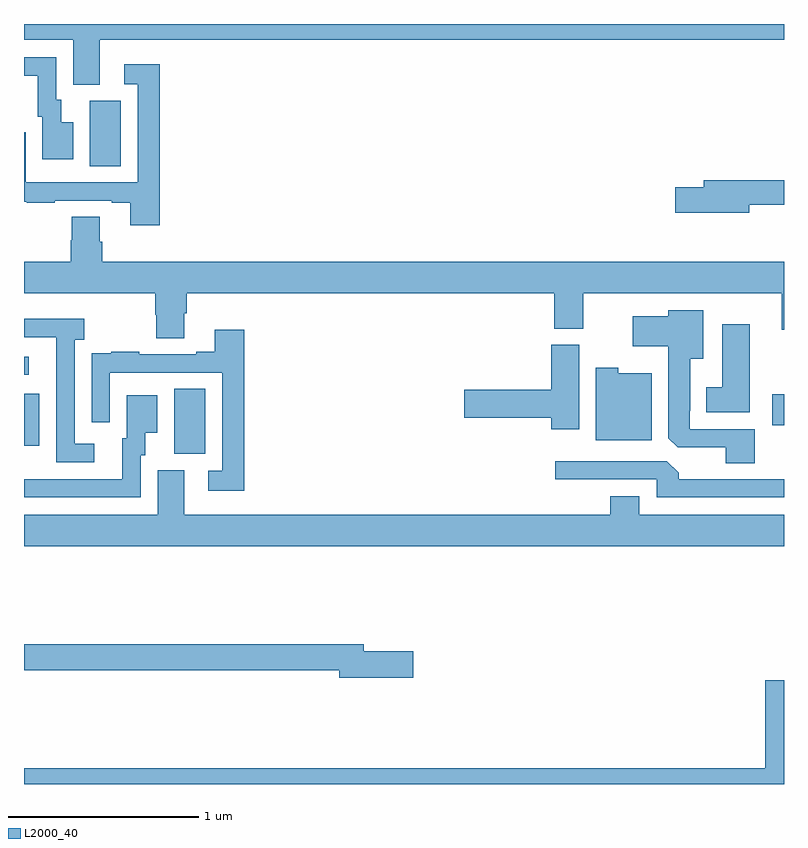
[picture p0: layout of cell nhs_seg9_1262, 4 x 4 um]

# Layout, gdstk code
import gdstk
lib = gdstk.Library(unit=1e-6, precision=1e-09)
def R(c, l, rs):  # rectangles x0, y0, x1, y1
    for r in rs: c.add(gdstk.rectangle(r[:2], r[2:], *l))
def P(c, l, *ps):  # polygons
    for p in ps: c.add(gdstk.Polygon(p, *l))
L2000_40 = (2000, 40)

nhs_seg9_1262 = lib.new_cell('nhs_seg9_1262')
R(nhs_seg9_1262, L2000_40, [(181.79,1198.237,181.954,1198.58), (181,1198.281,181.081,1198.555), (184.938,1198.388,185,1198.551), (181,1198.653,181.024,1198.749), (181.346,1199.752,181.51,1200.096)])
P(nhs_seg9_1262, L2000_40, [(181.399,1200.416),(185,1200.416),(185,1200.5),(181,1200.5),(181,1200.416),(181.259,1200.416),(181.259,1200.181),(181.399,1200.181)],
  [(181.258,1199.983),(181.195,1199.983),(181.195,1200.102),(181.17,1200.102),(181.17,1200.324),(181,1200.324),(181,1200.228),(181.073,1200.228),(181.073,1200.012),(181.097,1200.012),(181.097,1199.787),(181.258,1199.787)],
  [(181.715,1200.289),(181.527,1200.289),(181.527,1200.183),(181.599,1200.183),(181.599,1199.667),(181.008,1199.667),(181.008,1199.929),(181,1199.929),(181,1199.565),(181.015,1199.565),(181.015,1199.559),(181.163,1199.559),(181.163,1199.571),(181.463,1199.571),(181.463,1199.559),(181.559,1199.559),(181.559,1199.442),(181.715,1199.442)],
  [(184.816,1199.55),(185,1199.55),(185,1199.678),(184.577,1199.678),(184.577,1199.642),(184.428,1199.642),(184.428,1199.507),(184.816,1199.507)],
  [(181.843,1198.978),(181.856,1198.978),(181.856,1199.084),(183.791,1199.084),(183.791,1198.897),(183.943,1198.897),(183.943,1199.084),(184.988,1199.084),(184.988,1198.89),(185,1198.89),(185,1199.248),(181.412,1199.248),(181.412,1199.354),(181.399,1199.354),(181.399,1199.486),(181.252,1199.486),(181.252,1199.361),(181.247,1199.361),(181.247,1199.248),(181,1199.248),(181,1199.084),(181.691,1199.084),(181.691,1198.971),(181.696,1198.971),(181.696,1198.846),(181.843,1198.846)],
  [(184.847,1198.368),(184.503,1198.368),(184.503,1198.465),(184.507,1198.465),(184.507,1198.739),(184.576,1198.739),(184.576,1198.993),(184.391,1198.993),(184.391,1198.963),(184.203,1198.963),(184.203,1198.805),(184.391,1198.805),(184.391,1198.321),(184.44,1198.272),(184.694,1198.272),(184.694,1198.189),(184.847,1198.189)],
  [(181.369,1198.29),(181.266,1198.29),(181.266,1198.838),(181.318,1198.838),(181.318,1198.948),(181,1198.948),(181,1198.851),(181.169,1198.851),(181.169,1198.651),(181.17,1198.651),(181.17,1198.194),(181.369,1198.194)],
  [(184.819,1198.921),(184.676,1198.921),(184.676,1198.588),(184.592,1198.588),(184.592,1198.457),(184.819,1198.457)],
  [(182.159,1198.891),(182.003,1198.891),(182.003,1198.774),(181.907,1198.774),(181.907,1198.761),(181.607,1198.761),(181.607,1198.774),(181.459,1198.774),(181.459,1198.767),(181.357,1198.767),(181.357,1198.658),(181.356,1198.658),(181.356,1198.404),(181.452,1198.404),(181.452,1198.665),(182.043,1198.665),(182.043,1198.149),(181.971,1198.149),(181.971,1198.044),(182.159,1198.044)],
  [(183.922,1198.812),(183.776,1198.812),(183.776,1198.574),(183.318,1198.574),(183.318,1198.427),(183.776,1198.427),(183.776,1198.368),(183.922,1198.368)],
  [(184.303,1198.663),(184.128,1198.663),(184.128,1198.69),(184.01,1198.69),(184.01,1198.31),(184.303,1198.31)],
  [(181.614,1198.23),(181.639,1198.23),(181.639,1198.349),(181.702,1198.349),(181.702,1198.546),(181.541,1198.546),(181.541,1198.32),(181.517,1198.32),(181.517,1198.104),(181.033,1198.104),(181.033,1198.105),(181,1198.105),(181,1198.008),(181.614,1198.008)],
  [(185,1198.104),(184.445,1198.104),(184.445,1198.138),(184.383,1198.2),(183.795,1198.2),(183.795,1198.104),(184.329,1198.104),(184.329,1198.008),(185,1198.008)],
  [(185,1197.916),(184.237,1197.916),(184.237,1198.015),(184.085,1198.015),(184.085,1197.916),(181.843,1197.916),(181.843,1198.152),(181.703,1198.152),(181.703,1197.916),(181,1197.916),(181,1197.752),(185,1197.752)],
  [(183.049,1197.2),(182.788,1197.2),(182.788,1197.236),(181,1197.236),(181,1197.1),(182.66,1197.1),(182.66,1197.058),(183.049,1197.058)],
  [(185,1197.046),(184.901,1197.046),(184.901,1196.584),(181,1196.584),(181,1196.5),(185,1196.5)])

lib.write_gds('nhs_seg9_1262.gds')
